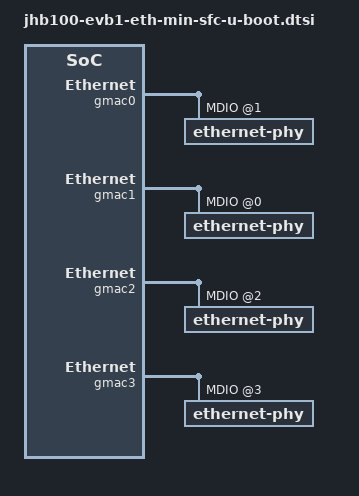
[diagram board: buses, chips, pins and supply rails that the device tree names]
// SPDX-License-Identifier: GPL-2.0 OR MIT
/*
 * Copyright (c) 2025 StarFive Technology Co., Ltd.
 *
 * U-Boot SPL overlay for the minimal SFC-only build.
 * Includes the full jhb100-evb1-eth-u-boot.dtsi and then strips
 * bootph-pre-ram from GMAC clocks, GMAC ethernet nodes, and pinctrl
 * groups that are not needed when booting from SFC only.
 */

#include "jhb100-evb1-eth-u-boot.dtsi"

/* GMAC fixed clocks: not needed in SPL for minimal SFC boot */
&per2_gmac2_rmii_ref {
	/delete-property/ bootph-pre-ram;
};

&per2_gmac3_sgmii_tx {
	/delete-property/ bootph-pre-ram;
};

&per2_gmac3_sgmii_rx {
	/delete-property/ bootph-pre-ram;
};

&per3_gmac0_rmii_rclki {
	/delete-property/ bootph-pre-ram;
};

&per3_gmac1_sgmii_tx {
	/delete-property/ bootph-pre-ram;
};

&per3_gmac1_sgmii_rx {
	/delete-property/ bootph-pre-ram;
};

/* GMAC ethernet nodes: not needed in SPL for minimal SFC boot */
&gmac0 {
	/delete-property/ bootph-pre-ram;
#ifndef CONFIG_PHY_NCSI
	mdio {
		/delete-property/ bootph-pre-ram;
		ethernet-phy@1 {
			/delete-property/ bootph-pre-ram;
		};
	};
#endif
};

&gmac1 {
	/delete-property/ bootph-pre-ram;
	mdio {
		/delete-property/ bootph-pre-ram;
		ethernet-phy@0 {
			/delete-property/ bootph-pre-ram;
		};
	};
};

&gmac2 {
	/delete-property/ bootph-pre-ram;
#ifndef CONFIG_PHY_NCSI
	mdio {
		/delete-property/ bootph-pre-ram;
		ethernet-phy@2 {
			/delete-property/ bootph-pre-ram;
		};
	};
#endif
};

&gmac3 {
	/delete-property/ bootph-pre-ram;
	mdio {
		/delete-property/ bootph-pre-ram;
		ethernet-phy@3 {
			/delete-property/ bootph-pre-ram;
		};
	};
};

&sgmii_phy0 {
	/delete-property/ bootph-pre-ram;
};

&sgmii_phy1 {
	/delete-property/ bootph-pre-ram;
};

/* pinctrl_bmcperiph0: GMAC1/2/3 MDC/MDIO pins not needed in minimal SPL */
&pinctrl_bmcperiph0 {
	/delete-property/ bootph-pre-ram;
};

&gmac1_mdio_pins {
	/delete-property/ bootph-pre-ram;
	gmac1_mdc-pins {
		/delete-property/ bootph-pre-ram;
	};
	gmac1_mdio-pins {
		/delete-property/ bootph-pre-ram;
	};
};

&gmac2_mdio_pins {
	/delete-property/ bootph-pre-ram;
	gmac2_mdc-pins {
		/delete-property/ bootph-pre-ram;
	};
	gmac2_mdio-pins {
		/delete-property/ bootph-pre-ram;
	};
};

&gmac3_mdio_pins {
	/delete-property/ bootph-pre-ram;
	gmac3_mdc-pins {
		/delete-property/ bootph-pre-ram;
	};
	gmac3_mdio-pins {
		/delete-property/ bootph-pre-ram;
	};
};

/* pinctrl_bmcperiph2: GMAC2 RGMII pins not needed in minimal SPL */
&pinctrl_bmcperiph2 {
	/delete-property/ bootph-pre-ram;
};

&gmac2_rgmii_pins {
	/delete-property/ bootph-pre-ram;
	gmac2_rgmii_txen-pins {
		/delete-property/ bootph-pre-ram;
	};
	gmac2_rgmii_txclk-pins {
		/delete-property/ bootph-pre-ram;
	};
	gmac2_rgmii_txd0-pins {
		/delete-property/ bootph-pre-ram;
	};
	gmac2_rgmii_txd1-pins {
		/delete-property/ bootph-pre-ram;
	};
	gmac2_rgmii_txd2-pins {
		/delete-property/ bootph-pre-ram;
	};
	gmac2_rgmii_txd3-pins {
		/delete-property/ bootph-pre-ram;
	};
	gmac2_rgmii_rxclk-pins {
		/delete-property/ bootph-pre-ram;
	};
	gmac2_rgmii_rxdv-pins {
		/delete-property/ bootph-pre-ram;
	};
	gmac2_rgmii_rxd0-pins {
		/delete-property/ bootph-pre-ram;
	};
	gmac2_rgmii_rxd1-pins {
		/delete-property/ bootph-pre-ram;
	};
	gmac2_rgmii_rxd2-pins {
		/delete-property/ bootph-pre-ram;
	};
	gmac2_rgmii_rxd3-pins {
		/delete-property/ bootph-pre-ram;
	};
};

&pinctrl_bmcperiph2_pok {
	/delete-property/ bootph-pre-ram;
};

/* pinctrl_bmcperiph3: GMAC0 MDC/MDIO and RMII pins not needed in minimal SPL */
&pinctrl_bmcperiph3 {
	/delete-property/ bootph-pre-ram;
};

&gmac0_mdio_pins {
	/delete-property/ bootph-pre-ram;
	gmac0_mdc-pins {
		/delete-property/ bootph-pre-ram;
	};
	gmac0_mdio-pins {
		/delete-property/ bootph-pre-ram;
	};
};

&gmac0_rmii_pins {
	/delete-property/ bootph-pre-ram;
	gmac0_rmii_txen-pins {
		/delete-property/ bootph-pre-ram;
	};
	gmac0_rmii_txd0-pins {
		/delete-property/ bootph-pre-ram;
	};
	gmac0_rmii_txd1-pins {
		/delete-property/ bootph-pre-ram;
	};
	gmac0_rmii_rclki-pins {
		/delete-property/ bootph-pre-ram;
	};
	gmac0_rmii_rclko-pins {
		/delete-property/ bootph-pre-ram;
	};
	gmac0_rmii_rxdv-pins {
		/delete-property/ bootph-pre-ram;
	};
	gmac0_rmii_rxd0-pins {
		/delete-property/ bootph-pre-ram;
	};
	gmac0_rmii_rxd1-pins {
		/delete-property/ bootph-pre-ram;
	};
};

/* pinctrl_sys1: no SPL devices use sys1 pins */
&pinctrl_sys1 {
	/delete-property/ bootph-pre-ram;
};

/* pinctrl_emmc: CONFIG_MMC not enabled in minimal defconfig */
&pinctrl_emmc {
	/delete-property/ bootph-pre-ram;
};

&emmc0_pins {
	/delete-property/ bootph-pre-ram;
	emmc0_clk-pins {
		/delete-property/ bootph-pre-ram;
	};
	emmc0_rst-pins {
		/delete-property/ bootph-pre-ram;
	};
	emmc0_cmd-pins {
		/delete-property/ bootph-pre-ram;
	};
	emmc0_dqs-pins {
		/delete-property/ bootph-pre-ram;
	};
	emmc0_data0-pins {
		/delete-property/ bootph-pre-ram;
	};
	emmc0_data1-pins {
		/delete-property/ bootph-pre-ram;
	};
	emmc0_data2-pins {
		/delete-property/ bootph-pre-ram;
	};
	emmc0_data3-pins {
		/delete-property/ bootph-pre-ram;
	};
	emmc0_data4-pins {
		/delete-property/ bootph-pre-ram;
	};
	emmc0_data5-pins {
		/delete-property/ bootph-pre-ram;
	};
	emmc0_data6-pins {
		/delete-property/ bootph-pre-ram;
	};
	emmc0_data7-pins {
		/delete-property/ bootph-pre-ram;
	};
};
